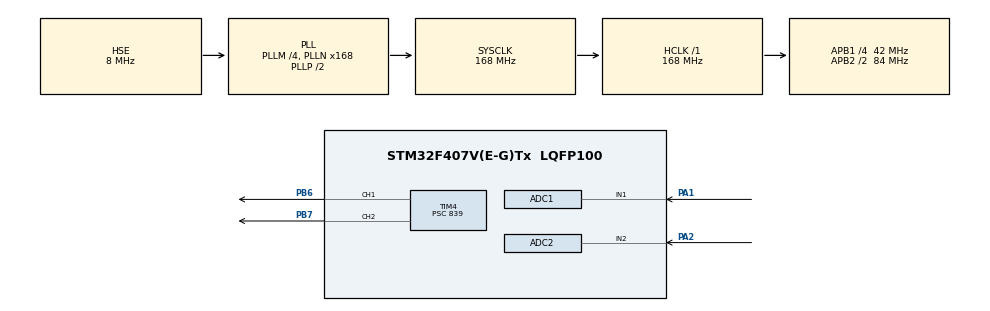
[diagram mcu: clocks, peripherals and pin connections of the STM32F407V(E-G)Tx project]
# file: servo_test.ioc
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ADC1.Channel-0\#ChannelRegularConversion=ADC_CHANNEL_1
ADC1.ClockPrescaler=ADC_CLOCK_SYNC_PCLK_DIV4
ADC1.NbrOfConversionFlag=1
ADC1.Rank-0\#ChannelRegularConversion=1
ADC1.SamplingTime-0\#ChannelRegularConversion=ADC_SAMPLETIME_3CYCLES
ADC1.master=1
ADC2.Channel-0\#ChannelRegularConversion=ADC_CHANNEL_2
ADC2.NbrOfConversionFlag=1
ADC2.Rank-0\#ChannelRegularConversion=1
ADC2.SamplingTime-0\#ChannelRegularConversion=ADC_SAMPLETIME_3CYCLES
Mcu.Family=STM32F4
Mcu.Name=STM32F407V(E-G)Tx
Mcu.Package=LQFP100
NVIC.PriorityGroup=NVIC_PRIORITYGROUP_4
PA1.Signal=ADCx_IN1
PA2.Signal=ADCx_IN2
PB6.Signal=S_TIM4_CH1
PB7.Signal=S_TIM4_CH2
PH0-OSC_IN.Mode=HSE-External-Oscillator
PH0-OSC_IN.Signal=RCC_OSC_IN
PH1-OSC_OUT.Mode=HSE-External-Oscillator
PH1-OSC_OUT.Signal=RCC_OSC_OUT
ProjectManager.HeapSize=0x200
ProjectManager.StackSize=0x400
ProjectManager.TargetToolchain=SW4STM32
RCC.48MHZClocksFreq_Value=84000000
RCC.AHBFreq_Value=168000000
RCC.APB1CLKDivider=RCC_HCLK_DIV4
RCC.APB1Freq_Value=42000000
RCC.APB1TimFreq_Value=84000000
RCC.APB2CLKDivider=RCC_HCLK_DIV2
RCC.APB2Freq_Value=84000000
RCC.APB2TimFreq_Value=168000000
RCC.CortexFreq_Value=168000000
RCC.HCLKFreq_Value=168000000
RCC.HSE_VALUE=8000000
RCC.HSI_VALUE=16000000
RCC.LSE_VALUE=32768
RCC.PLLM=4
RCC.PLLN=168
RCC.PLLSourceVirtual=RCC_PLLSOURCE_HSE
RCC.SYSCLKFreq_VALUE=168000000
RCC.SYSCLKSource=RCC_SYSCLKSOURCE_PLLCLK
RCC.VCOOutputFreq_Value=336000000
SH.ADCx_IN1.0=ADC1_IN1,IN1
SH.ADCx_IN2.0=ADC2_IN2,IN2
SH.S_TIM4_CH1.0=TIM4_CH1,PWM Generation1 CH1
SH.S_TIM4_CH2.0=TIM4_CH2,PWM Generation2 CH2
TIM4.Channel-PWM\ Generation1\ CH1=TIM_CHANNEL_1
TIM4.Channel-PWM\ Generation2\ CH2=TIM_CHANNEL_2
TIM4.Period=999
TIM4.Prescaler=839
TIM4.Pulse-PWM\ Generation1\ CH1=0
VP_TIM4_VS_ClockSourceINT.Mode=Internal
board=custom

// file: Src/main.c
/* USER CODE BEGIN Header */
/**
  ******************************************************************************
  * @file           : main.c
  * @brief          : Main program body
  ******************************************************************************
  * @attention
  *
  * <h2><center>&copy; Copyright (c) 2019 STMicroelectronics.
  * All rights reserved.</center></h2>
  *
  * This software component is licensed by ST under BSD 3-Clause license,
  * the "License"; You may not use this file except in compliance with the
  * License. You may obtain a copy of the License at:
  *                        opensource.org/licenses/BSD-3-Clause
  *
  ******************************************************************************
  */
/* USER CODE END Header */

#include "main.h"

ADC_HandleTypeDef hadc1;
ADC_HandleTypeDef hadc2;

TIM_HandleTypeDef htim4;

/* USER CODE BEGIN PV */
uint16_t value, value2;
volatile int move, move2;
/* USER CODE END PV */

void SystemClock_Config(void);
static void MX_GPIO_Init(void);
static void MX_ADC1_Init(void);
static void MX_TIM4_Init(void);
static void MX_ADC2_Init(void);

int main(void)
{

  /* MCU Configuration--------------------------------------------------------*/

  /* Reset of all peripherals, Initializes the Flash interface and the Systick. */
  HAL_Init();

  /* Configure the system clock */
  SystemClock_Config();

  /* Initialize all configured peripherals */
  MX_GPIO_Init();
  MX_ADC1_Init();
  MX_TIM4_Init();
  MX_ADC2_Init();
  /* USER CODE BEGIN 2 */
  HAL_TIM_Base_Start_IT(&htim4);
  HAL_TIM_PWM_Start(&htim4, TIM_CHANNEL_1);
  HAL_TIM_PWM_Start(&htim4, TIM_CHANNEL_2);
  /* USER CODE END 2 */

  /* Infinite loop */
  /* USER CODE BEGIN WHILE */
  while (1)
  {
	  HAL_ADC_Start(&hadc1);
	  HAL_ADC_Start(&hadc2);

	  if (HAL_ADC_PollForConversion(&hadc1, 10) == HAL_OK) {
	      value = HAL_ADC_GetValue(&hadc1);
	  }
	  if (HAL_ADC_PollForConversion(&hadc2, 10) == HAL_OK) {
	  	      value2 = HAL_ADC_GetValue(&hadc2);
	  }
	  move = round(60 + value * (180.0 / 4095.0));
	  move2 = round(60 + value2 * (180.0 / 4095.0));
	  TIM4->CCR1 = move;
	  TIM4->CCR2 = move2;
    /* USER CODE END WHILE */

  }
}

void SystemClock_Config(void)
{
  RCC_OscInitTypeDef RCC_OscInitStruct = {0};
  RCC_ClkInitTypeDef RCC_ClkInitStruct = {0};

  /** Configure the main internal regulator output voltage
  */
  __HAL_RCC_PWR_CLK_ENABLE();
  __HAL_PWR_VOLTAGESCALING_CONFIG(PWR_REGULATOR_VOLTAGE_SCALE1);
  /** Initializes the CPU, AHB and APB busses clocks
  */
  RCC_OscInitStruct.OscillatorType = RCC_OSCILLATORTYPE_HSE;
  RCC_OscInitStruct.HSEState = RCC_HSE_ON;
  RCC_OscInitStruct.PLL.PLLState = RCC_PLL_ON;
  RCC_OscInitStruct.PLL.PLLSource = RCC_PLLSOURCE_HSE;
  RCC_OscInitStruct.PLL.PLLM = 4;
  RCC_OscInitStruct.PLL.PLLN = 168;
  RCC_OscInitStruct.PLL.PLLP = RCC_PLLP_DIV2;
  RCC_OscInitStruct.PLL.PLLQ = 4;
  if (HAL_RCC_OscConfig(&RCC_OscInitStruct) != HAL_OK)
  {
    Error_Handler();
  }
  /** Initializes the CPU, AHB and APB busses clocks
  */
  RCC_ClkInitStruct.ClockType = RCC_CLOCKTYPE_HCLK|RCC_CLOCKTYPE_SYSCLK
                              |RCC_CLOCKTYPE_PCLK1|RCC_CLOCKTYPE_PCLK2;
  RCC_ClkInitStruct.SYSCLKSource = RCC_SYSCLKSOURCE_PLLCLK;
  RCC_ClkInitStruct.AHBCLKDivider = RCC_SYSCLK_DIV1;
  RCC_ClkInitStruct.APB1CLKDivider = RCC_HCLK_DIV4;
  RCC_ClkInitStruct.APB2CLKDivider = RCC_HCLK_DIV2;

  if (HAL_RCC_ClockConfig(&RCC_ClkInitStruct, FLASH_LATENCY_5) != HAL_OK)
  {
    Error_Handler();
  }
}

static void MX_ADC1_Init(void)
{

  ADC_ChannelConfTypeDef sConfig = {0};

  /** Configure the global features of the ADC (Clock, Resolution, Data Alignment and number of conversion)
  */
  hadc1.Instance = ADC1;
  hadc1.Init.ClockPrescaler = ADC_CLOCK_SYNC_PCLK_DIV4;
  hadc1.Init.Resolution = ADC_RESOLUTION_12B;
  hadc1.Init.ScanConvMode = DISABLE;
  hadc1.Init.ContinuousConvMode = DISABLE;
  hadc1.Init.DiscontinuousConvMode = DISABLE;
  hadc1.Init.ExternalTrigConvEdge = ADC_EXTERNALTRIGCONVEDGE_NONE;
  hadc1.Init.ExternalTrigConv = ADC_SOFTWARE_START;
  hadc1.Init.DataAlign = ADC_DATAALIGN_RIGHT;
  hadc1.Init.NbrOfConversion = 1;
  hadc1.Init.DMAContinuousRequests = DISABLE;
  hadc1.Init.EOCSelection = ADC_EOC_SINGLE_CONV;
  if (HAL_ADC_Init(&hadc1) != HAL_OK)
  {
    Error_Handler();
  }
  /** Configure for the selected ADC regular channel its corresponding rank in the sequencer and its sample time.
  */
  sConfig.Channel = ADC_CHANNEL_1;
  sConfig.Rank = 1;
  sConfig.SamplingTime = ADC_SAMPLETIME_3CYCLES;
  if (HAL_ADC_ConfigChannel(&hadc1, &sConfig) != HAL_OK)
  {
    Error_Handler();
  }

}

static void MX_ADC2_Init(void)
{

  ADC_ChannelConfTypeDef sConfig = {0};

  /** Configure the global features of the ADC (Clock, Resolution, Data Alignment and number of conversion)
  */
  hadc2.Instance = ADC2;
  hadc2.Init.ClockPrescaler = ADC_CLOCK_SYNC_PCLK_DIV4;
  hadc2.Init.Resolution = ADC_RESOLUTION_12B;
  hadc2.Init.ScanConvMode = DISABLE;
  hadc2.Init.ContinuousConvMode = DISABLE;
  hadc2.Init.DiscontinuousConvMode = DISABLE;
  hadc2.Init.ExternalTrigConvEdge = ADC_EXTERNALTRIGCONVEDGE_NONE;
  hadc2.Init.ExternalTrigConv = ADC_SOFTWARE_START;
  hadc2.Init.DataAlign = ADC_DATAALIGN_RIGHT;
  hadc2.Init.NbrOfConversion = 1;
  hadc2.Init.DMAContinuousRequests = DISABLE;
  hadc2.Init.EOCSelection = ADC_EOC_SINGLE_CONV;
  if (HAL_ADC_Init(&hadc2) != HAL_OK)
  {
    Error_Handler();
  }
  /** Configure for the selected ADC regular channel its corresponding rank in the sequencer and its sample time.
  */
  sConfig.Channel = ADC_CHANNEL_2;
  sConfig.Rank = 1;
  sConfig.SamplingTime = ADC_SAMPLETIME_3CYCLES;
  if (HAL_ADC_ConfigChannel(&hadc2, &sConfig) != HAL_OK)
  {
    Error_Handler();
  }

}

static void MX_TIM4_Init(void)
{

  TIM_ClockConfigTypeDef sClockSourceConfig = {0};
  TIM_MasterConfigTypeDef sMasterConfig = {0};
  TIM_OC_InitTypeDef sConfigOC = {0};

  htim4.Instance = TIM4;
  htim4.Init.Prescaler = 839;
  htim4.Init.CounterMode = TIM_COUNTERMODE_UP;
  htim4.Init.Period = 999;
  htim4.Init.ClockDivision = TIM_CLOCKDIVISION_DIV1;
  htim4.Init.AutoReloadPreload = TIM_AUTORELOAD_PRELOAD_DISABLE;
  if (HAL_TIM_Base_Init(&htim4) != HAL_OK)
  {
    Error_Handler();
  }
  sClockSourceConfig.ClockSource = TIM_CLOCKSOURCE_INTERNAL;
  if (HAL_TIM_ConfigClockSource(&htim4, &sClockSourceConfig) != HAL_OK)
  {
    Error_Handler();
  }
  if (HAL_TIM_PWM_Init(&htim4) != HAL_OK)
  {
    Error_Handler();
  }
  sMasterConfig.MasterOutputTrigger = TIM_TRGO_RESET;
  sMasterConfig.MasterSlaveMode = TIM_MASTERSLAVEMODE_DISABLE;
  if (HAL_TIMEx_MasterConfigSynchronization(&htim4, &sMasterConfig) != HAL_OK)
  {
    Error_Handler();
  }
  sConfigOC.OCMode = TIM_OCMODE_PWM1;
  sConfigOC.Pulse = 0;
  sConfigOC.OCPolarity = TIM_OCPOLARITY_HIGH;
  sConfigOC.OCFastMode = TIM_OCFAST_DISABLE;
  if (HAL_TIM_PWM_ConfigChannel(&htim4, &sConfigOC, TIM_CHANNEL_1) != HAL_OK)
  {
    Error_Handler();
  }
  if (HAL_TIM_PWM_ConfigChannel(&htim4, &sConfigOC, TIM_CHANNEL_2) != HAL_OK)
  {
    Error_Handler();
  }
  HAL_TIM_MspPostInit(&htim4);

}

static void MX_GPIO_Init(void)
{

  /* GPIO Ports Clock Enable */
  __HAL_RCC_GPIOH_CLK_ENABLE();
  __HAL_RCC_GPIOA_CLK_ENABLE();
  __HAL_RCC_GPIOB_CLK_ENABLE();

}

void Error_Handler(void)
{
}

/************************ (C) COPYRIGHT STMicroelectronics *****END OF FILE****/
